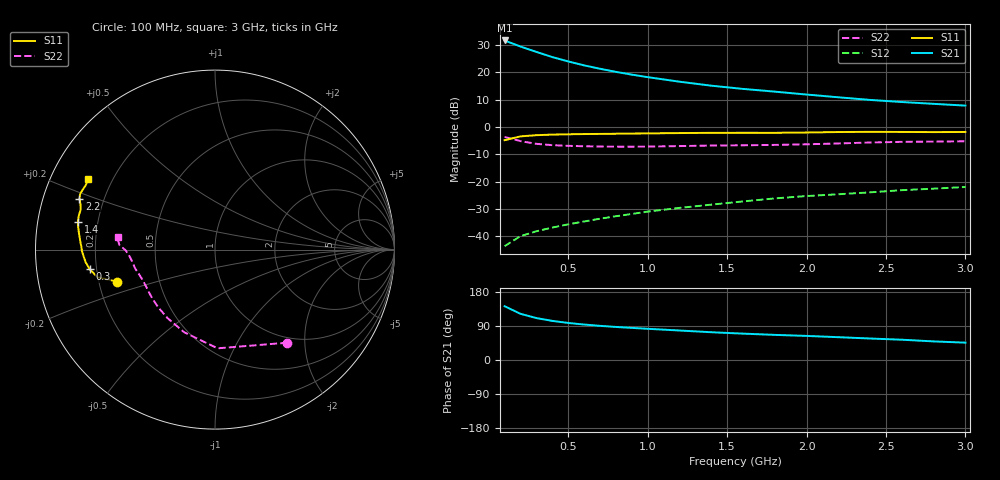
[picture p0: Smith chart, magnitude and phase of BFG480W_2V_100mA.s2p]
! Filename: 2100BFG480.001
! Title: BFG480W
! Bias: Vce=2V; Ic=100mA
! Company: Philips Semiconductors NL
! User: Quality&Reliability T&D
! Measure time: 10 Nov 1999 / 11:55:01
#  MHz  S  MA  R 50
! Freq  S11  S21  S12  S22  :
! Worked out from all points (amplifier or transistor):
!   20 points, 100 MHz to 3 GHz, reference 50 ohm
!   highest |S21| = 31.6 dB at 100 MHz (marker M1)
!   |S21| within 3 dB of that: start of sweep to 239.5 MHz
!   unconditionally stable (mu >= 1): 582.6 MHz to end of sweep
!   at 400 MHz: K = 0.89, MSG = 31.1 dB, |S12| = -36.8 dB
!   at 1.2 GHz: K = 1.11, MAG = 21.0 dB, |S12| = -29.6 dB
!   at 3 GHz: K = 1.11, MAG = 12.9 dB, |S12| = -21.9 dB
!   S11 on the Smith chart (normalised r, x): 100 MHz: 0.28, -0.15; 300 MHz: 0.17, -0.08; 1.4 GHz: 0.13, +0.10; 2.2 GHz: 0.11, +0.18; 3 GHz: 0.11, +0.26
100  0.5728 -161.8  37.95 141.9  0.006639 66.7  0.657 -52.1
200  0.6723 -166.8  29.38 121.8  0.01014 58.7  0.5502 -88.5
300  0.7065 -171.1  23.43 110.7  0.01242 58.6  0.4914 -110.5
400  0.7239 -174.4  18.88 103.2  0.01452 60.4  0.4645 -124.6
500  0.7333 -177.1  15.72 97.8  0.01663 62.9  0.4515 -134.3
600  0.7411 -179.3  13.32 93.6  0.01876 64.8  0.4437 -141.2
700  0.7449 178.7  11.55 90.2  0.02106 66.8  0.4387 -146.5
800  0.7508 176.9  10.14 87.2  0.02337 68.2  0.436 -150.8
900  0.7561 175.2  9.017 84.8  0.02571 70.1  0.4358 -154.4
1000  0.7618 173.6  8.119 82.4  0.0284 70.8  0.4378 -157.7
1200  0.7725 170.7  6.701 77.8  0.03317 72.2  0.4467 -162.8
1400  0.7792 168.5  5.666 73.3  0.03804 72.8  0.4567 -166.6
1600  0.7822 166.1  4.948 69.6  0.04358 73.3  0.4622 -169.7
1800  0.7808 163.6  4.411 66.3  0.04951 73.7  0.4694 -173.0
2000  0.7905 161.4  3.904 63.6  0.05463 74.0  0.4816 -176.6
2200  0.8066 159.4  3.479 60.2  0.05891 73.9  0.4992 -179.7
2400  0.8127 157.6  3.115 56.7  0.06382 73.3  0.5195 178.4
2600  0.8094 155.8  2.849 53.5  0.06997 72.4  0.5338 177.2
2800  0.8047 153.5  2.639 49.1  0.07457 71.0  0.5399 175.3
3000  0.8085 150.8  2.451 45.8  0.07994 70.1  0.5468 172.6
